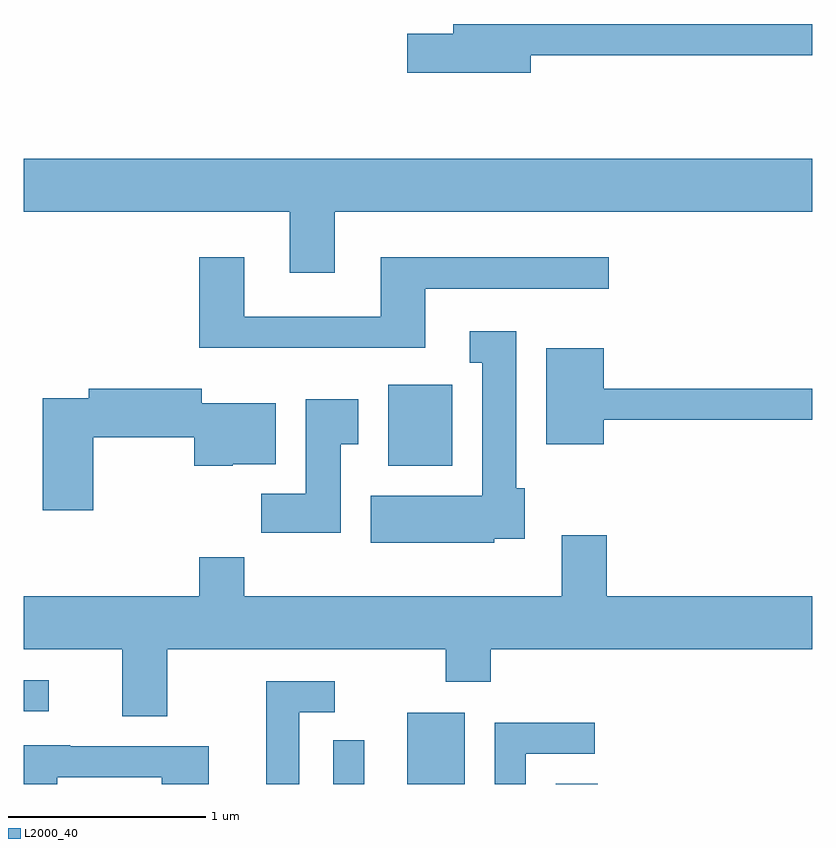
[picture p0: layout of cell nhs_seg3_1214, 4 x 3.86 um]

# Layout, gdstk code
import gdstk
lib = gdstk.Library(unit=1e-6, precision=1e-09)
def R(c, l, rs):  # rectangles x0, y0, x1, y1
    for r in rs: c.add(gdstk.rectangle(r[:2], r[2:], *l))
def P(c, l, *ps):  # polygons
    for p in ps: c.add(gdstk.Polygon(p, *l))
L2000_40 = (2000, 40)

nhs_seg3_1214 = lib.new_cell('nhs_seg3_1214')
R(nhs_seg3_1214, L2000_40, [(221.181,1231.892,221.339,1232.113), (221.556,1231.892,221.849,1232.254), (222.311,1231.892,222.524,1231.894), (219.611,1232.261,219.738,1232.419), (221.461,1233.506,221.784,1233.919)])
P(nhs_seg3_1214, L2000_40, [(222.184,1235.591),(223.611,1235.591),(223.611,1235.749),(221.791,1235.749),(221.791,1235.699),(221.556,1235.699),(221.556,1235.501),(222.184,1235.501)],
  [(221.189,1234.796),(223.611,1234.796),(223.611,1235.064),(219.611,1235.064),(219.611,1234.796),(220.961,1234.796),(220.961,1234.486),(221.189,1234.486)],
  [(221.649,1234.406),(222.578,1234.406),(222.578,1234.564),(221.421,1234.564),(221.421,1234.264),(220.729,1234.264),(220.729,1234.564),(220.501,1234.564),(220.501,1234.106),(221.649,1234.106)],
  [(221.999,1233.136),(222.154,1233.136),(222.154,1233.394),(222.109,1233.394),(222.109,1234.189),(221.873,1234.189),(221.873,1234.031),(221.936,1234.031),(221.936,1233.354),(221.371,1233.354),(221.371,1233.116),(221.999,1233.116)],
  [(222.554,1233.741),(223.611,1233.741),(223.611,1233.899),(222.554,1233.899),(222.554,1234.104),(222.261,1234.104),(222.261,1233.616),(222.554,1233.616)],
  [(219.964,1233.651),(220.476,1233.651),(220.476,1233.506),(220.67,1233.506),(220.67,1233.516),(220.889,1233.516),(220.889,1233.824),(220.514,1233.824),(220.514,1233.899),(219.941,1233.899),(219.941,1233.849),(219.706,1233.849),(219.706,1233.281),(219.964,1233.281)],
  [(221.219,1233.616),(221.309,1233.616),(221.309,1233.844),(221.041,1233.844),(221.041,1233.364),(220.816,1233.364),(220.816,1233.166),(221.219,1233.166)],
  [(220.339,1232.576),(221.751,1232.576),(221.751,1232.411),(221.979,1232.411),(221.979,1232.576),(223.611,1232.576),(223.611,1232.844),(222.569,1232.844),(222.569,1233.154),(222.341,1233.154),(222.341,1232.844),(220.729,1232.844),(220.729,1233.044),(220.501,1233.044),(220.501,1232.844),(219.611,1232.844),(219.611,1232.576),(220.111,1232.576),(220.111,1232.236),(220.339,1232.236)],
  [(221.009,1232.256),(221.188,1232.256),(221.188,1232.414),(220.841,1232.414),(220.841,1231.892),(221.009,1231.892)],
  [(222.159,1232.046),(222.508,1232.046),(222.508,1232.204),(222.001,1232.204),(222.001,1231.892),(222.159,1231.892)],
  [(219.779,1231.926),(220.311,1231.926),(220.311,1231.892),(220.549,1231.892),(220.549,1232.084),(219.845,1232.084),(219.845,1232.089),(219.611,1232.089),(219.611,1231.892),(219.779,1231.892)])

lib.write_gds('nhs_seg3_1214.gds')
